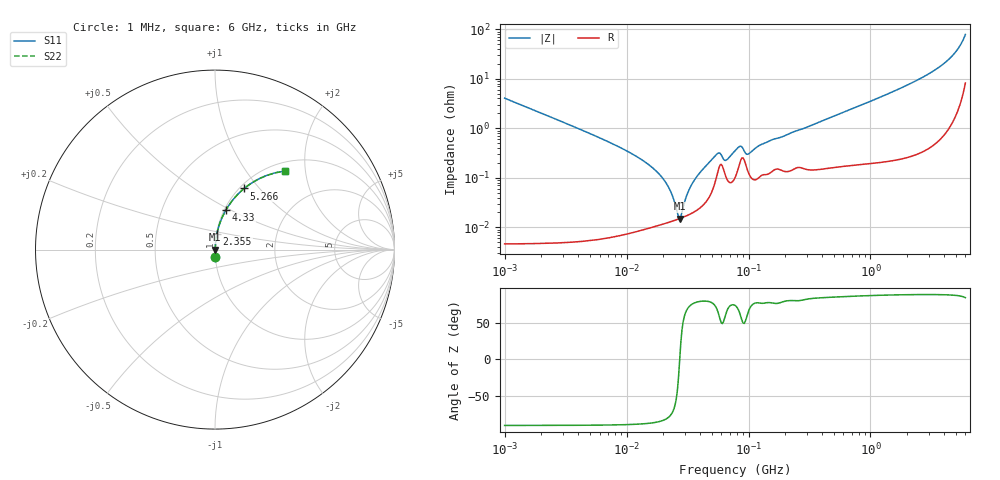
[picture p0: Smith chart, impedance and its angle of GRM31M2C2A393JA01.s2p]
!Murata Part Number: GRM31M2C2A393JA01
!These Parameters are Measured in Series Mode Connection
!Data Generated on Mar 30, 2021
!  o--ll--o
!Port1  Port2
!  o------o
!Operation Temp=25[degC], DC Bias Voltage=0[V]
!Freq. Start=1000[kHz] Stop=6[GHz] 401[Steps]
# Hz S RI R 50
!Freq.(Hz) S11(Real) S11(Imag) S21(Real) S21(Imag) S12(Real) S12(Imag) S22(Real) S22(Imag)
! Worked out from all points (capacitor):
!   401 points, 1 MHz to 6 GHz, reference 50 ohm
!   read as one part in series: C = 39.2 nF near 1.044 MHz
!   lowest |Z| = 15 mohm at 27.27 MHz (marker M1)
!   series resonance near 27.26 MHz, so ESL is about 870 pH
!   S11 on the Smith chart (normalised r, x): 1 MHz: 1.00, -0.08; 2.355 GHz: 1.01, +0.18; 4.33 GHz: 1.02, +0.48; 5.266 GHz: 1.05, +0.83; 6 GHz: 1.16, +1.56
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1000000  0.00169 -0.0405  0.9983 0.0405  0.9983 0.0405  0.00169 -0.0405
4293785  0.000137 -0.00922  0.9999 0.00922  0.9999 0.00922  0.000137 -0.00922
1.117988e7  8.71e-05 -0.00301  0.9999 0.00301  0.9999 0.00301  8.71e-05 -0.00301
1.843659e7  0.000111 -0.0012  0.9999 0.0012  0.9999 0.0012  0.000111 -0.0012
2.242276e7  0.000128 -0.000589  0.9999 0.000589  0.9999 0.000589  0.000128 -0.000589
2.610999e7  0.000144 -0.00013  0.9999 0.00013  0.9999 0.00013  0.000144 -0.00013
2.727078e7  0.00015 8e-07  0.9998 -8e-07  0.9998 -8e-07  0.00015 8e-07
2.848316e7  0.000157 0.000133  0.9998 -0.000133  0.9998 -0.000133  0.000157 0.000133
3.316698e7  0.000185 0.000607  0.9998 -0.000607  0.9998 -0.000607  0.000185 0.000607
4.12249e7  0.000264 0.00137  0.9997 -0.00137  0.9997 -0.00137  0.000264 0.00137
5.589783e7  0.0013 0.00283  0.9987 -0.00283  0.9987 -0.00283  0.0013 0.00283
6.508975e7  0.00107 0.00197  0.9989 -0.00197  0.9989 -0.00197  0.00107 0.00197
7.745967e7  0.00101 0.00336  0.999 -0.00336  0.999 -0.00336  0.00101 0.00336
8.635799e7  0.00229 0.00369  0.9977 -0.00369  0.9977 -0.00369  0.00229 0.00369
1.005588e8  0.00122 0.00281  0.9988 -0.00281  0.9988 -0.00281  0.00122 0.00281
1.277378e8  0.00114 0.00459  0.9989 -0.00459  0.9989 -0.00459  0.00114 0.00459
3.325952e8  0.00157 0.0115  0.9984 -0.0115  0.9984 -0.0115  0.00157 0.0115
1.428092e9  0.00474 0.0507  0.9953 -0.0507  0.9953 -0.0507  0.00474 0.0507
2.355049e9  0.011 0.0896  0.989 -0.0896  0.989 -0.0896  0.011 0.0896
4.329827e9  0.0623 0.223  0.9377 -0.223  0.9377 -0.223  0.0623 0.223
5.265977e9  0.1624 0.3405  0.8376 -0.3405  0.8376 -0.3405  0.1624 0.3405
6e9  0.3924 0.4384  0.6076 -0.4384  0.6076 -0.4384  0.3924 0.4384
